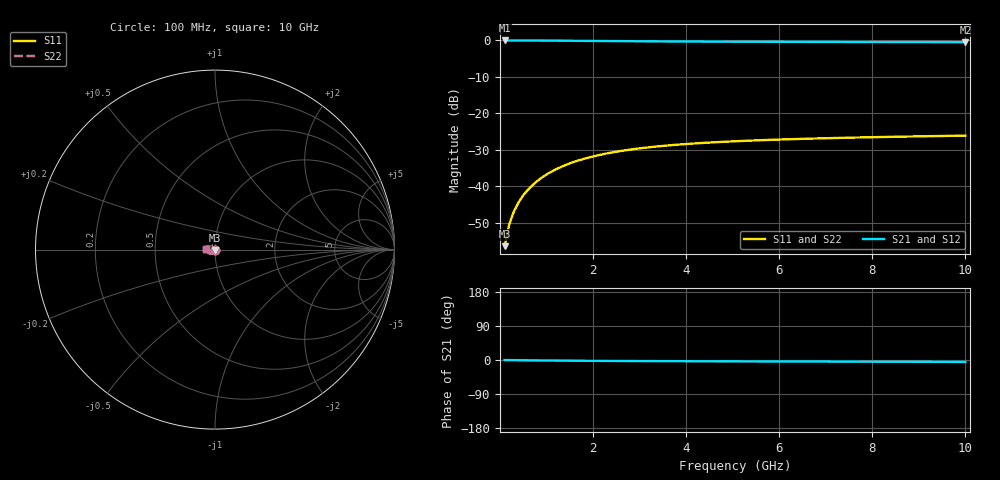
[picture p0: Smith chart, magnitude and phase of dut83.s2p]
! Touchstone file exported from HFSS 2024.1.0
!  File:  C:/UserFiles/LocalFiles/RDL_TSV_Batchsim/temp_TSV1_83_1779375220.aedt
!  Generated:  11:00:30 PM May 21, 2026
!  Design:  TSV1
!  Project:  temp_TSV1_83_1779375220
!  Setup:  Setup1
!  Solution:  Sweep
! Variables:
!  dtsv = 13.35um
!  hbump = 3um
!  htsv = 76.81um
!  lrdl = 252.1521522um
!  p = 40
!  p1 = 59.84um
!  t = 500um
!  trdl = 3um
!  wrdl = 24.89489489um
# GHz S MA R 50.000000
! Terminal data exported
! Port[1] = TSV22_T1
! Port[2] = TSV22_T2
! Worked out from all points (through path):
!   100 points, 100 MHz to 10 GHz, reference 50 ohm
!   highest |S21| = 0.00 dB at 100 MHz (marker M1); lowest = -0.5 dB at 10 GHz (marker M2)
!   lowest |S11| = -56.4 dB at 100 MHz (marker M3), VSWR 1.00, Z = 50 - j0.152 ohm
!   |S11| at or under -10 dB: start of sweep to end of sweep
!   |S22| runs from -56.4 to -26.1 dB; largest |S21 - S12| = 5e-15
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0.1  0.001521 -88.9  0.9999 -0.1  0.9999 -0.1  0.001521 -88.9
! Gamma 0 0 0 0
! Port Impedance 50 0 50 0
0.2  0.003037 -92.3  0.9997 -0.3  0.9997 -0.3  0.003037 -92.3
0.3  0.004551 -94.8  0.9994 -0.4  0.9994 -0.4  0.004551 -94.8
0.4  0.006055 -97.1  0.999 -0.6  0.999 -0.6  0.006055 -97.1
0.5  0.007542 -99.2  0.9985 -0.7  0.9985 -0.7  0.007542 -99.2
0.6  0.009008 -101.3  0.998 -0.8  0.998 -0.8  0.009008 -101.3
0.7  0.01045 -103.4  0.9973 -0.9  0.9973 -0.9  0.01045 -103.4
0.8  0.01186 -105.4  0.9966 -1.1  0.9966 -1.1  0.01186 -105.4
0.9  0.01323 -107.3  0.9958 -1.2  0.9958 -1.2  0.01323 -107.3
1.1  0.01588 -111.1  0.994 -1.4  0.994 -1.4  0.01588 -111.1
1.4  0.01955 -116.5  0.9911 -1.7  0.9911 -1.7  0.01955 -116.5
1.6  0.02179 -119.9  0.989 -1.9  0.989 -1.9  0.02179 -119.9
1.8  0.02386 -123.1  0.9868 -2.1  0.9868 -2.1  0.02386 -123.1
2.1  0.02667 -127.6  0.9837 -2.3  0.9837 -2.3  0.02667 -127.6
2.5  0.0299 -133.1  0.9796 -2.6  0.9796 -2.6  0.0299 -133.1
2.9  0.03262 -137.9  0.9758 -2.8  0.9758 -2.8  0.03262 -137.9
3.4  0.03542 -143.3  0.9716 -3.0  0.9716 -3.0  0.03542 -143.3
4.2  0.03889 -150.7  0.966 -3.3  0.966 -3.3  0.03889 -150.7
5.1  0.04175 -157.5  0.9612 -3.6  0.9612 -3.6  0.04175 -157.5
6.7  0.04526 -167.2  0.9553 -4.1  0.9553 -4.1  0.04526 -167.2
8.4  0.04782 -175.3  0.9513 -4.6  0.9513 -4.6  0.04782 -175.3
10  0.04969 178.3  0.9488 -5.1  0.9488 -5.1  0.04969 178.3
